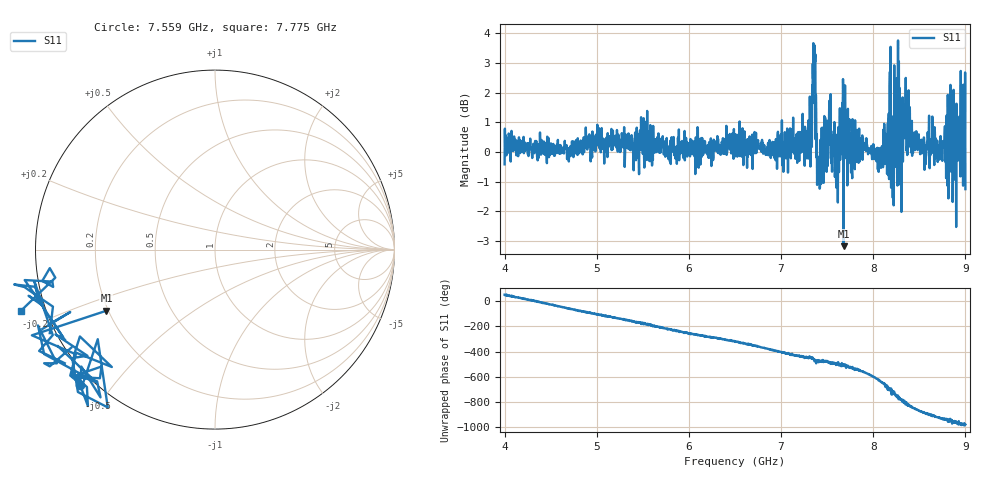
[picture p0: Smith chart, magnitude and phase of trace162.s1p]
! Created with skrf 1.8.0 (http://scikit-rf.org).
# Hz S RI R 50.0
!freq ReS11 ImS11
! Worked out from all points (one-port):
!   1601 points, 4 GHz to 9 GHz, reference 50 ohm
!   lowest |S11| = -3.2 dB at 7.678 GHz (marker M1), VSWR 5.53, Z = 9.64 - j12.7 ohm
!   |S11| at or under -10 dB: nowhere
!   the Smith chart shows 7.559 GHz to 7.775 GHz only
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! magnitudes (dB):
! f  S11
! 4 GHz  -0.4
! 4.028 GHz  0.4
! 4.625 GHz  0.0
! 5.25 GHz  0.0
! 5.875 GHz  0.0
! 6.5 GHz  -0.2
! 7.125 GHz  0.5
! 7.294 GHz  -0.2
! 7.356 GHz  3.1
! 7.412 GHz  -0.6
! 7.512 GHz  0.6
! 7.609 GHz  0.5
! 7.65 GHz  0.7
! 7.678 GHz  -3.2
! 7.75 GHz  0.6
! 8.066 GHz  0.0
! 8.162 GHz  -0.8
! 8.228 GHz  2.9
! 8.253 GHz  0.4
! 8.297 GHz  0.5
! 8.334 GHz  1.1
! 8.375 GHz  0.7
! 8.556 GHz  -0.6
! 8.725 GHz  0.2
! 8.834 GHz  1.5
! 8.919 GHz  -0.2
! 8.972 GHz  0.9
! 9 GHz  -1.3
